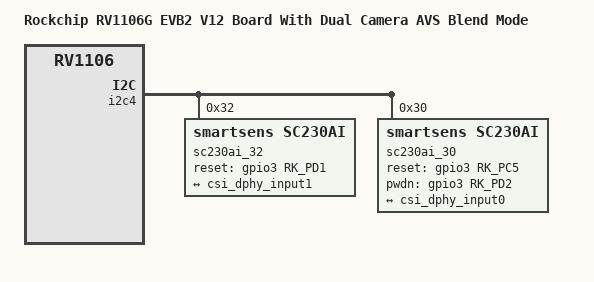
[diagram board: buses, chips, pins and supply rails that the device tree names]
// SPDX-License-Identifier: (GPL-2.0+ OR MIT)
/*
 * Copyright (c) 2023 Rockchip Electronics Co., Ltd.
 */

/dts-v1/;

#include "rv1106g-evb2-v10-dual-camera.dts"

/ {
	model = "Rockchip RV1106G EVB2 V12 Board With Dual Camera AVS Blend Mode";
	compatible = "rockchip,rv1106g-evb2-v12-dual-camera-avs", "rockchip,rv1106";
};

/delete-node/ &sc230ai;
/delete-node/ &sc301iot;

&csi2_dphy1 {
	ports {
		port@0 {
			csi_dphy_input0: endpoint@0 {
				remote-endpoint = <&sc230ai_30_out>;
			};
		};
	};
};

&csi2_dphy2 {
	ports {
		port@0 {
			csi_dphy_input1: endpoint@0 {
				remote-endpoint = <&sc230ai_32_out>;
			};
		};
	};
};

&i2c4 {
	sc230ai_32: sc230ai_32@32 {
		compatible = "smartsens,sc230ai";
		status = "okay";
		reg = <0x32>;
		clocks = <&cru MCLK_REF_MIPI1>;
		clock-names = "xvclk";
		reset-gpios = <&gpio3 RK_PD1 GPIO_ACTIVE_HIGH>;
		pinctrl-names = "default";
		pinctrl-0 = <&mipi_refclk_out1>;
		rockchip,camera-module-index = <1>;
		rockchip,camera-module-facing = "back";
		rockchip,camera-module-name = "CMK-OT2350-PC1";
		rockchip,camera-module-lens-name = "65IRC-F16";
		rockchip,camera-module-sync-mode = "slave";
		port {
			sc230ai_32_out: endpoint {
				remote-endpoint = <&csi_dphy_input1>;
				data-lanes = <1 2>;
			};
		};
	};

	sc230ai_30: sc230ai_30@30 {
		compatible = "smartsens,sc230ai";
		status = "okay";
		reg = <0x30>;
		clocks = <&cru MCLK_REF_MIPI0>;
		clock-names = "xvclk";
		reset-gpios = <&gpio3 RK_PC5 GPIO_ACTIVE_HIGH>;
		pwdn-gpios = <&gpio3 RK_PD2 GPIO_ACTIVE_HIGH>;
		pinctrl-names = "default";
		pinctrl-0 = <&mipi_refclk_out0>;
		rockchip,camera-module-index = <0>;
		rockchip,camera-module-facing = "back";
		rockchip,camera-module-name = "CMK-OT2350-PC1";
		rockchip,camera-module-lens-name = "65IRC-F16";
		rockchip,camera-module-sync-mode = "internal_master";
		port {
			sc230ai_30_out: endpoint {
				remote-endpoint = <&csi_dphy_input0>;
				data-lanes = <1 2>;
			};
		};
	};
};

&rkisp_thunderboot {
	/* reg's offset MUST match with RTOS */
	/*
	 * vicap, capture raw10, ceil(w*10/8/256)*256*h *4(buf num)
	 * e.g. 1920x1080: 0xa8c000
	 * 0x008b0000 = (meta's reg offset) + (meta's reg size)
	 *            = 0x00800000 + 0xb0000
	 */
	reg = <0x008b0000 0xa8c000>;
};

&ramdisk_r {
	/*
	 * 0x133c000 = (rkisp_thunderboot's reg offset)
	 *             + (rkisp_thunderboot's reg size)
	 *           =  0x008b0000 + 0xa8c000
	 */
	reg = <0x133c000 (15 * 0x00100000)>;
};

&ramdisk_c {
	/*
	 * 0x223c000 = (ramdisk_r's reg offset)
	 *             + (ramdisk_r's reg size)
	 *           =  0x133c000 + (15 * 0x00100000)
	 */
	reg = <0x223c000 (6 * 0x00100000)>;
};

&rkisp1_thunderboot {
	/*
	 * vicap, capture raw10, ceil(w*10/8/256)*256*h *4(buf num)
	 * e.g. 1920x1080: 0xa8c0000
	 * 0x283c000  = (ramdisk_c's reg offset) + (ramdisk_c's reg size)
	 *            = 0x223c000 + (6 * 0x00100000)
	 */
	reg = <0x283c000 0xa8c000>;
};
